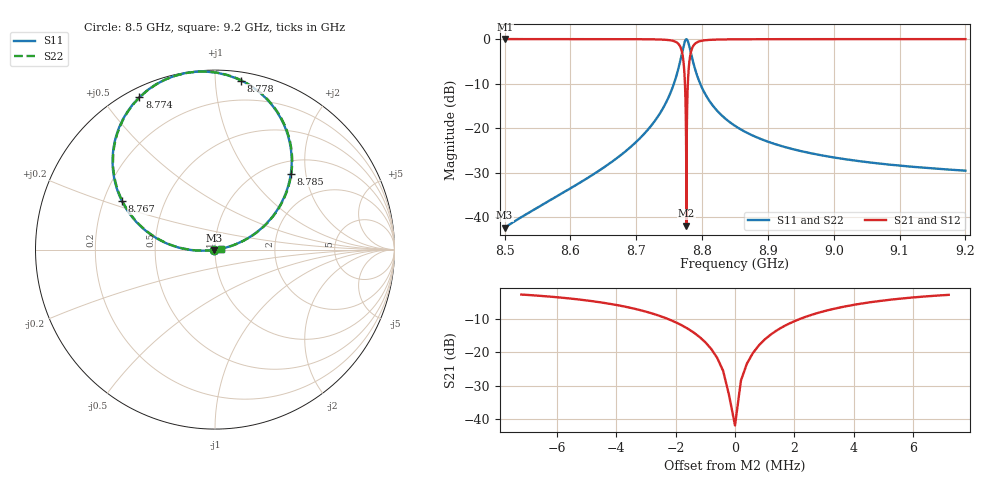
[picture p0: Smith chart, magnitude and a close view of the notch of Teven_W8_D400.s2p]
! Sonnet Data File
! From: emgraph Version : 16.52
! From Project: transmon_brg
! Data is De-embedded
! Data File Written: 11/11/2017 22:44:24
!< HDATE 11/11/2017 16:55:33
!< MDATE 11/11/2017 17:38:18
!< PARAMS
!< Lj = 15.24
!< Gap = 6.0
!< Width = 10.0
!< Airgap = 6.0
!< Pwidth = 2000.0
!< Dist = 399.999916
!< END PARAMS
# GHZ S MA R 51.80000
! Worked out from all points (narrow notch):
!   3501 points, 8.5 GHz to 9.2 GHz, reference 51.8 ohm
!   highest |S21| = 0.00 dB at 8.5 GHz (marker M1); lowest = -41.9 dB at 8.776 GHz (marker M2)
!   notch at M2: 41.9 dB deep, 1.2 MHz wide at half that depth
!   lowest |S11| = -42.4 dB at 8.5 GHz (marker M3), VSWR 1.02, Z = 51 - j0.137 ohm
!   |S11| at or under -10 dB: start of sweep to 8.757 GHz; 8.797 GHz to end of sweep
!   |S22| runs from -42.4 to 0.0 dB; largest |S21 - S12| = 0
!   S11 on the Smith chart (normalised r, x): 8.5 GHz: 0.99, -0.00; 8.767 GHz: 0.28, +0.23; 8.774 GHz: 0.04, +0.62; 8.778 GHz: 0.06, +1.17; 8.785 GHz: 1.25, +1.65; 9.2 GHz: 1.07, +0.01
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8.5  0.007595 -169.8  1 -79.7  1 -79.7  0.007595 -169.7
!< P1 F=8.5 Eeff=(6.44695349 -2.9785e-5) Z0=(51.7999087 1.19092e-4) R=0.0 C=0.0
!< P2 F=8.5 Eeff=(6.44695349 -2.9785e-5) Z0=(51.7999087 1.19092e-4) R=0.0 C=0.0
8.5004  0.007629 -169.8  1 -79.7  1 -79.7  0.007629 -169.7
8.6168  0.02493 -171.7  0.9997 -81.8  0.9997 -81.8  0.02493 -171.9
8.6886  0.05873 -174.3  0.9983 -84.4  0.9983 -84.4  0.05873 -174.5
8.7334  0.1366 -179.2  0.9906 -89.3  0.9906 -89.3  0.1366 -179.5
8.7574  0.3183 169.8  0.9477 -100.2  0.9477 -100.2  0.3183 169.6
8.763  0.4369 162.4  0.8989 -107.6  0.8989 -107.6  0.4369 162.1
8.7672  0.5848 152.5  0.81 -117.6  0.81 -117.6  0.5848 152.2
8.7712  0.7955 135.4  0.6031 -134.5  0.6031 -134.5  0.7955 135.1
8.774  0.9482 116.4  0.31 -153.3  0.31 -153.3  0.9482 116.1
8.7762  0.9973 97.9  0.008008 -11.8  0.008008 -11.8  0.9973 97.6
8.7782  0.9533 81.2  0.294 -9.5  0.294 -9.5  0.9533 80.9
8.7812  0.7971 61.3  0.6011 -29.1  0.6011 -29.1  0.7971 61.0
8.7852  0.5982 45.1  0.8002 -45.2  0.8002 -45.2  0.5982 44.8
8.7914  0.4105 32.5  0.9114 -57.8  0.9114 -57.8  0.4105 32.1
8.8012  0.2703 23.8  0.9626 -66.4  0.9626 -66.4  0.2703 23.5
8.8216  0.1603 17.1  0.987 -73.1  0.987 -73.1  0.1603 16.8
8.85  0.1059 13.7  0.9943 -76.5  0.9943 -76.5  0.1059 13.4
8.899  0.07072 11.2  0.9975 -79.0  0.9975 -79.0  0.07072 10.9
8.9668  0.05181 9.5  0.9987 -80.7  0.9987 -80.7  0.05181 9.2
9.0834  0.0389 7.7  0.9992 -82.5  0.9992 -82.5  0.0389 7.3
9.2  0.0332 6.3  0.9994 -83.9  0.9994 -83.9  0.0332 5.9
